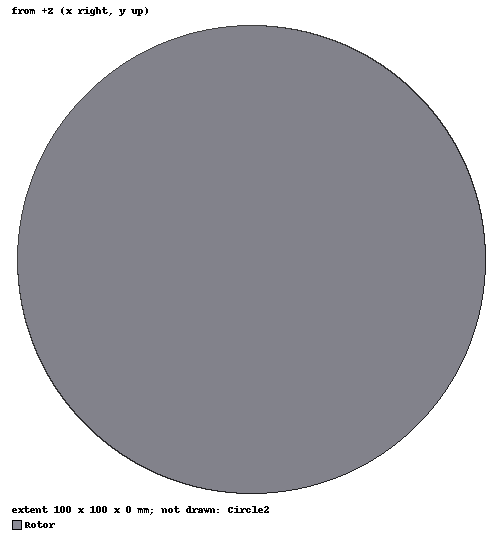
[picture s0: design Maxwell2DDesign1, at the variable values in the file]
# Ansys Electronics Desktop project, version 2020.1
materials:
  vacuum: permittivity=1
  steel_1008: permeability{HUnit=A_per_meter BUnit=tesla curve (0, 0) (159.2, 0.2402) (318.3, 0.8654) (477.5, 1.1106) (636.6, 1.2458) (795.8, 1.331) (1591.5, 1.5) (3183.1, 1.6) (4774.6, 1.683) (6366.2, 1.741) (7957.7, 1.78) (15915.5, 1.905) (31831, 2.025) (47746.5, 2.085) (63662, 2.13) (79577.5, 2.165) (159155, 2.28) (318310, 2.485) (397887, 2.5851)} conductivity=2000000

design Maxwell2DDesign1 (Maxwell 2D, Magnetostatic, XY geometry, model units mm)
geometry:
  Rotor [steel_1008] = circle(normal=Z, centre=(0mm, 0mm, 0mm), radius=50mm)
  Circle2 [vacuum] = circle(normal=Z, centre=(0mm, 0mm, 0mm), radius=51mm)
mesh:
  initial mesh: MeshMethod=AnsoftTAU
